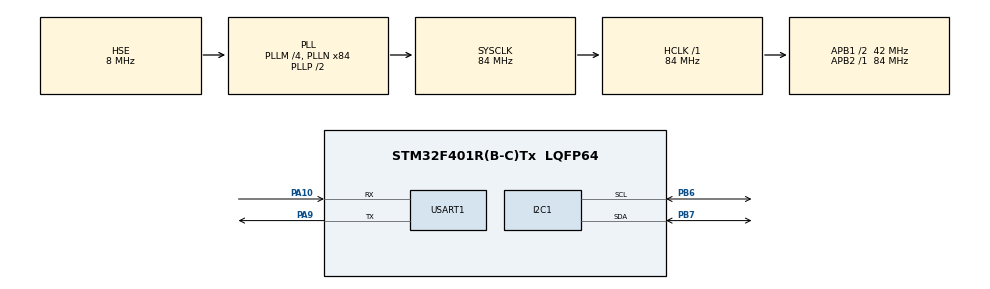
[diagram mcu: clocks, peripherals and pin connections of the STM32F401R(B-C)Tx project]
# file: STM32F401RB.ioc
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Dma.Request0=USART1_RX
Dma.Request1=USART1_TX
Dma.USART1_RX.0.Direction=DMA_PERIPH_TO_MEMORY
Dma.USART1_RX.0.FIFOMode=DMA_FIFOMODE_DISABLE
Dma.USART1_RX.0.Instance=DMA2_Stream2
Dma.USART1_RX.0.MemDataAlignment=DMA_MDATAALIGN_BYTE
Dma.USART1_RX.0.MemInc=DMA_MINC_ENABLE
Dma.USART1_RX.0.Mode=DMA_NORMAL
Dma.USART1_RX.0.PeriphDataAlignment=DMA_PDATAALIGN_BYTE
Dma.USART1_RX.0.PeriphInc=DMA_PINC_DISABLE
Dma.USART1_RX.0.Priority=DMA_PRIORITY_LOW
Dma.USART1_TX.1.Direction=DMA_MEMORY_TO_PERIPH
Dma.USART1_TX.1.FIFOMode=DMA_FIFOMODE_DISABLE
Dma.USART1_TX.1.Instance=DMA2_Stream7
Dma.USART1_TX.1.MemDataAlignment=DMA_MDATAALIGN_BYTE
Dma.USART1_TX.1.MemInc=DMA_MINC_ENABLE
Dma.USART1_TX.1.Mode=DMA_NORMAL
Dma.USART1_TX.1.PeriphDataAlignment=DMA_PDATAALIGN_BYTE
Dma.USART1_TX.1.PeriphInc=DMA_PINC_DISABLE
Dma.USART1_TX.1.Priority=DMA_PRIORITY_LOW
I2C1.I2C_Mode=I2C_Fast
Mcu.Family=STM32F4
Mcu.Name=STM32F401R(B-C)Tx
Mcu.Package=LQFP64
NVIC.DMA2_Stream2_IRQn=true\:0\:0\:false\:false\:true\:false\:true
NVIC.DMA2_Stream7_IRQn=true\:0\:0\:false\:false\:true\:false\:true
NVIC.PriorityGroup=NVIC_PRIORITYGROUP_4
NVIC.USART1_IRQn=true\:0\:0\:false\:false\:true\:true\:true
PA10.Mode=Asynchronous
PA10.Signal=USART1_RX
PA13.Signal=SYS_JTMS-SWDIO
PA14.Signal=SYS_JTCK-SWCLK
PA9.Mode=Asynchronous
PA9.Signal=USART1_TX
PB6.Mode=I2C
PB6.Signal=I2C1_SCL
PB7.Mode=I2C
PB7.Signal=I2C1_SDA
PH0\ -\ OSC_IN.Mode=HSE-External-Oscillator
PH0\ -\ OSC_IN.Signal=RCC_OSC_IN
PH1\ -\ OSC_OUT.Mode=HSE-External-Oscillator
PH1\ -\ OSC_OUT.Signal=RCC_OSC_OUT
ProjectManager.HeapSize=0x200
ProjectManager.StackSize=0x400
ProjectManager.TargetToolchain=MDK-ARM V5
RCC.48MHZClocksFreq_Value=42000000
RCC.AHBFreq_Value=84000000
RCC.APB1CLKDivider=RCC_HCLK_DIV2
RCC.APB1Freq_Value=42000000
RCC.APB1TimFreq_Value=84000000
RCC.APB2Freq_Value=84000000
RCC.APB2TimFreq_Value=84000000
RCC.CortexFreq_Value=84000000
RCC.HCLKFreq_Value=84000000
RCC.HSE_VALUE=8000000
RCC.HSI_VALUE=16000000
RCC.LSE_VALUE=32768
RCC.PLLM=4
RCC.PLLN=84
RCC.PLLSourceVirtual=RCC_PLLSOURCE_HSE
RCC.SYSCLKFreq_VALUE=84000000
RCC.SYSCLKSource=RCC_SYSCLKSOURCE_PLLCLK
RCC.VCOOutputFreq_Value=168000000
USART1.VirtualMode=VM_ASYNC
board=custom

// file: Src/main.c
/* USER CODE BEGIN Header */
/**
  ******************************************************************************
  * @file           : main.c
  * @brief          : Main program body
  ******************************************************************************
  ** This notice applies to any and all portions of this file
  * that are not between comment pairs USER CODE BEGIN and
  * USER CODE END. Other portions of this file, whether
  * inserted by the user or by software development tools
  * are owned by their respective copyright owners.
  *
  * COPYRIGHT(c) 2019 STMicroelectronics
  *
  * Redistribution and use in source and binary forms, with or without modification,
  * are permitted provided that the following conditions are met:
  *   1. Redistributions of source code must retain the above copyright notice,
  *      this list of conditions and the following disclaimer.
  *   2. Redistributions in binary form must reproduce the above copyright notice,
  *      this list of conditions and the following disclaimer in the documentation
  *      and/or other materials provided with the distribution.
  *   3. Neither the name of STMicroelectronics nor the names of its contributors
  *      may be used to endorse or promote products derived from this software
  *      without specific prior written permission.
  *
  * THIS SOFTWARE IS PROVIDED BY THE COPYRIGHT HOLDERS AND CONTRIBUTORS "AS IS"
  * AND ANY EXPRESS OR IMPLIED WARRANTIES, INCLUDING, BUT NOT LIMITED TO, THE
  * IMPLIED WARRANTIES OF MERCHANTABILITY AND FITNESS FOR A PARTICULAR PURPOSE ARE
  * DISCLAIMED. IN NO EVENT SHALL THE COPYRIGHT HOLDER OR CONTRIBUTORS BE LIABLE
  * FOR ANY DIRECT, INDIRECT, INCIDENTAL, SPECIAL, EXEMPLARY, OR CONSEQUENTIAL
  * DAMAGES (INCLUDING, BUT NOT LIMITED TO, PROCUREMENT OF SUBSTITUTE GOODS OR
  * SERVICES; LOSS OF USE, DATA, OR PROFITS; OR BUSINESS INTERRUPTION) HOWEVER
  * CAUSED AND ON ANY THEORY OF LIABILITY, WHETHER IN CONTRACT, STRICT LIABILITY,
  * OR TORT (INCLUDING NEGLIGENCE OR OTHERWISE) ARISING IN ANY WAY OUT OF THE USE
  * OF THIS SOFTWARE, EVEN IF ADVISED OF THE POSSIBILITY OF SUCH DAMAGE.
  *
  ******************************************************************************
  */
/* USER CODE END Header */

#include "main.h"

/* USER CODE BEGIN Includes */

#include "mpu9250.h"
#include "main_api.h"
#ifdef ARM_MATH_CM4
	#include <math.h>
	#include "arm_math.h"
#endif
#include <stdio.h>
#include <stdarg.h>

/* USER CODE END Includes */

/* USER CODE BEGIN PD */
#ifdef __GNUC__
  /* With GCC, small printf (option LD Linker->Libraries->Small printf
     set to 'Yes') calls __io_putchar() */
  #define PUTCHAR_PROTOTYPE int __io_putchar(int ch)
#else
  #define PUTCHAR_PROTOTYPE int fputc(int ch, FILE *f)
#endif /* __GNUC__ */

/* USER CODE END PD */

I2C_HandleTypeDef hi2c1;

UART_HandleTypeDef huart1;
DMA_HandleTypeDef hdma_usart1_rx;
DMA_HandleTypeDef hdma_usart1_tx;

/* USER CODE BEGIN PV */

MPU9250 mpu1;
__IO ITStatus UartReady = RESET;

/* USER CODE END PV */

void SystemClock_Config(void);
static void MX_GPIO_Init(void);
static void MX_DMA_Init(void);
static void MX_USART1_UART_Init(void);
static void MX_I2C1_Init(void);

int main(void)
{
  /* USER CODE BEGIN 1 */
	MPU9250_Result MPU9250_state;
	float ax, ay, az, gx, gy, gz, mx, my, mz, tmp;
  /* USER CODE END 1 */

  /* MCU Configuration--------------------------------------------------------*/

  /* Reset of all peripherals, Initializes the Flash interface and the Systick. */
  HAL_Init();

  /* Configure the system clock */
  SystemClock_Config();

  /* Initialize all configured peripherals */
  MX_GPIO_Init();
  MX_DMA_Init();
  MX_USART1_UART_Init();
  MX_I2C1_Init();
  /* USER CODE BEGIN 2 */

	if(MPU9250_Init(&hi2c1,
									 &mpu1,
									 MPU9250_Device_0,
									 MPU9250_Accelerometer_16G,
									 MPU9250_Gyroscope_2000s,
									 MPU9250_Magnetometer_16bit)==MPU9250_Result_Ok)	{
		MPU9250_state = MPU9250_Result_Ok;
		DMA_printf("\n\r mpu9250 Ready! \n\r");
	}
	else {
		DMA_printf("\n\r mpu9250 not Ready! \n\r");
	}
	HAL_Delay(10);
  /* USER CODE END 2 */

  /* Infinite loop */
  /* USER CODE BEGIN WHILE */
	while (1) {
		DMA_printf("\n\r Read MPU9250 data \n\r");
//		if (MPU9250_state == MPU9250_Result_Ok){		//MPU9250_Detect if(HAL_I2C_IsDeviceReady(Handle,mpu9250_address,2,5)!=HAL_OK)
			MPU9250_ReadAll(&hi2c1,&mpu1);
			ax = (float)mpu1.Accelerometer_X*mpu1.Acce_Mult;  // get actual a value, this depends on scale being set
			ay = (float)mpu1.Accelerometer_Y*mpu1.Acce_Mult;
			az = (float)mpu1.Accelerometer_Z*mpu1.Acce_Mult;
			gx = (float)mpu1.Gyroscope_X*mpu1.Gyro_Mult;  // get actual g value, this depends on scale being set
			gy = (float)mpu1.Gyroscope_Y*mpu1.Gyro_Mult;
			gz = (float)mpu1.Gyroscope_Z*mpu1.Gyro_Mult;
			mx = (float)mpu1.Magnetometer_X*mpu1.Magn_Mult*mpu1.Magn_Calix;  // get actual m value, this depends on scale being set
			my = (float)mpu1.Magnetometer_Y*mpu1.Magn_Mult*mpu1.Magn_Caliy;
			mz = (float)mpu1.Magnetometer_Z*mpu1.Magn_Mult*mpu1.Magn_Caliz;
			tmp = ((float) mpu1.Temperature); // /333.87f + 21.0f;
			HAL_Delay(50);
			DMA_printf("ax = %f ay = %f az = %f  mg\n\r", 1000*ax, 1000*ay, 1000*az);
			HAL_Delay(50);
			DMA_printf("gx = %f gy = %f gz = %f  deg/s\n\r", gx,gy,gz);
			HAL_Delay(50);
			DMA_printf("mx = %f my = %f mz = %f  mG\n\r", mx,my,mz);
			HAL_Delay(50);
			DMA_printf("temperature = %f  C\n\r", tmp);
//		}
//		else {
//		}
		HAL_Delay(2500);
	}
    /* USER CODE END WHILE */

}

void SystemClock_Config(void)
{
  RCC_OscInitTypeDef RCC_OscInitStruct = {0};
  RCC_ClkInitTypeDef RCC_ClkInitStruct = {0};

  /**Configure the main internal regulator output voltage
  */
  __HAL_RCC_PWR_CLK_ENABLE();
  __HAL_PWR_VOLTAGESCALING_CONFIG(PWR_REGULATOR_VOLTAGE_SCALE2);
  /**Initializes the CPU, AHB and APB busses clocks
  */
  RCC_OscInitStruct.OscillatorType = RCC_OSCILLATORTYPE_HSE;
  RCC_OscInitStruct.HSEState = RCC_HSE_ON;
  RCC_OscInitStruct.PLL.PLLState = RCC_PLL_ON;
  RCC_OscInitStruct.PLL.PLLSource = RCC_PLLSOURCE_HSE;
  RCC_OscInitStruct.PLL.PLLM = 4;
  RCC_OscInitStruct.PLL.PLLN = 84;
  RCC_OscInitStruct.PLL.PLLP = RCC_PLLP_DIV2;
  RCC_OscInitStruct.PLL.PLLQ = 4;
  if (HAL_RCC_OscConfig(&RCC_OscInitStruct) != HAL_OK)
  {
    Error_Handler();
  }
  /**Initializes the CPU, AHB and APB busses clocks
  */
  RCC_ClkInitStruct.ClockType = RCC_CLOCKTYPE_HCLK|RCC_CLOCKTYPE_SYSCLK
                              |RCC_CLOCKTYPE_PCLK1|RCC_CLOCKTYPE_PCLK2;
  RCC_ClkInitStruct.SYSCLKSource = RCC_SYSCLKSOURCE_PLLCLK;
  RCC_ClkInitStruct.AHBCLKDivider = RCC_SYSCLK_DIV1;
  RCC_ClkInitStruct.APB1CLKDivider = RCC_HCLK_DIV2;
  RCC_ClkInitStruct.APB2CLKDivider = RCC_HCLK_DIV1;

  if (HAL_RCC_ClockConfig(&RCC_ClkInitStruct, FLASH_LATENCY_2) != HAL_OK)
  {
    Error_Handler();
  }
}

static void MX_I2C1_Init(void)
{

  hi2c1.Instance = I2C1;
  hi2c1.Init.ClockSpeed = 400000;
  hi2c1.Init.DutyCycle = I2C_DUTYCYCLE_2;
  hi2c1.Init.OwnAddress1 = 0;
  hi2c1.Init.AddressingMode = I2C_ADDRESSINGMODE_7BIT;
  hi2c1.Init.DualAddressMode = I2C_DUALADDRESS_DISABLE;
  hi2c1.Init.OwnAddress2 = 0;
  hi2c1.Init.GeneralCallMode = I2C_GENERALCALL_DISABLE;
  hi2c1.Init.NoStretchMode = I2C_NOSTRETCH_DISABLE;
  if (HAL_I2C_Init(&hi2c1) != HAL_OK)
  {
    Error_Handler();
  }

}

static void MX_USART1_UART_Init(void)
{

  huart1.Instance = USART1;
  huart1.Init.BaudRate = 115200;
  huart1.Init.WordLength = UART_WORDLENGTH_8B;
  huart1.Init.StopBits = UART_STOPBITS_1;
  huart1.Init.Parity = UART_PARITY_NONE;
  huart1.Init.Mode = UART_MODE_TX_RX;
  huart1.Init.HwFlowCtl = UART_HWCONTROL_NONE;
  huart1.Init.OverSampling = UART_OVERSAMPLING_16;
  if (HAL_UART_Init(&huart1) != HAL_OK)
  {
    Error_Handler();
  }

}

static void MX_DMA_Init(void)
{
  /* DMA controller clock enable */
  __HAL_RCC_DMA2_CLK_ENABLE();

  /* DMA interrupt init */
  /* DMA2_Stream2_IRQn interrupt configuration */
  HAL_NVIC_SetPriority(DMA2_Stream2_IRQn, 0, 0);
  HAL_NVIC_EnableIRQ(DMA2_Stream2_IRQn);
  /* DMA2_Stream7_IRQn interrupt configuration */
  HAL_NVIC_SetPriority(DMA2_Stream7_IRQn, 0, 0);
  HAL_NVIC_EnableIRQ(DMA2_Stream7_IRQn);

}

static void MX_GPIO_Init(void)
{

  /* GPIO Ports Clock Enable */
  __HAL_RCC_GPIOH_CLK_ENABLE();
  __HAL_RCC_GPIOA_CLK_ENABLE();
  __HAL_RCC_GPIOB_CLK_ENABLE();

}

/* USER CODE BEGIN 4 */

PUTCHAR_PROTOTYPE
{
  /* Place your implementation of fputc here */
  /* e.g. write a character to the EVAL_COM1 and Loop until the end of transmission */

//	HAL_UART_Transmit_DMA(&huart1, (uint8_t *)&ch, 1);
//  HAL_UART_Transmit(&huart1, (uint8_t *)&ch, 1,0xFFFF);

  if(HAL_UART_Transmit_DMA(&huart1, (uint8_t *)&ch, 1)!= HAL_OK)
  {
    Error_Handler();
  }

  /*##-3- Wait for the end of the transfer ###################################*/
//  while (UartReady != SET)
//  {
//  }
//	UartReady = RESET;
  return ch;
}

void DMA_printf(const char *format,...)
{
	uint32_t length;
	va_list args;
	uint8_t buffer[256];

	va_start(args, format);
	length = vsnprintf((char*)buffer, sizeof(buffer), (char*)format, args);
	va_end(args);

  if(HAL_UART_Transmit_DMA(&huart1, (uint8_t *)&buffer, length)!= HAL_OK)
  {
    Error_Handler();
  }
}

/* USER CODE END 4 */

void Error_Handler(void)
{
}

/************************ (C) COPYRIGHT STMicroelectronics *****END OF FILE****/
